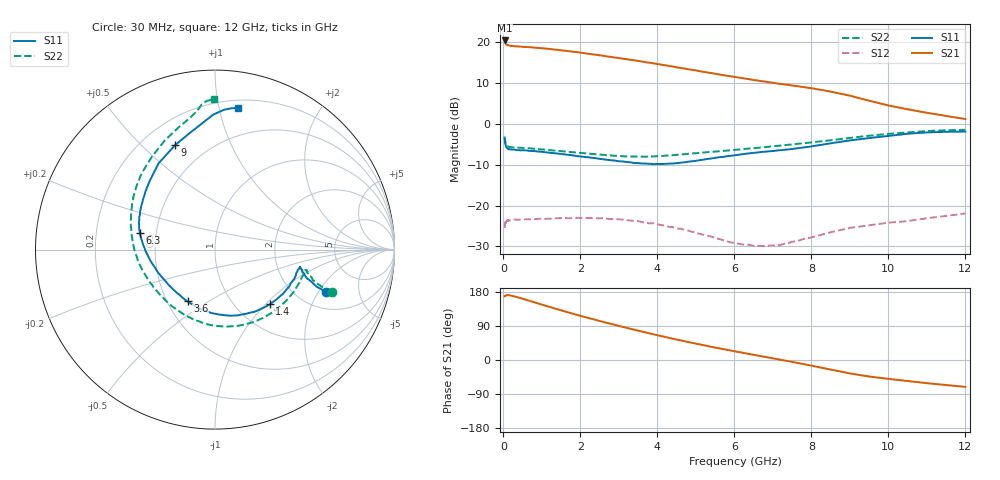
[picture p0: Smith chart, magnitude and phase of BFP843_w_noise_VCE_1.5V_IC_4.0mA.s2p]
! Infineon Technologies  Discrete & RF Semiconductors
! BFP843
! VCE =  1.5 V,  IC =  4.0 mA
! Common Emitter S-Parameters:  Aug 2013
# GHz  S  MA  R  50
!  f  S11  S21  S12  S22
! GHz  MAG  ANG  MAG  ANG  MAG  ANG  MAG  ANG
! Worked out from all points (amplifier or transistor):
!   103 points, 30 MHz to 12 GHz, reference 50 ohm
!   highest |S21| = 20.3 dB at 30 MHz (marker M1)
!   |S21| within 3 dB of that: start of sweep to 2.019 GHz
!   unconditionally stable (mu >= 1): 160.3 MHz to 868.3 MHz; 2.411 GHz to 11.01 GHz
!   at 400 MHz: K = 1.01, MAG = 20.5 dB, |S12| = -23.5 dB
!   at 3.7 GHz: K = 1.19, MAG = 16.9 dB, |S12| = -24.2 dB
!   at 12 GHz: K = 0.84, MSG = 11.5 dB, |S12| = -21.9 dB
!   lowest NFmin = 0.97 dB at 450 MHz
!   S11 on the Smith chart (normalised r, x): 30 MHz: 2.80, -2.33; 1.4 GHz: 1.41, -1.06; 3.6 GHz: 0.63, -0.41; 6.3 GHz: 0.40, +0.09; 9 GHz: 0.33, +0.63; 12 GHz: 0.26, +1.14
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0.03  0.6607 -20.8  10.34 167.9  0.0532 35.1  0.6949 -19.9
0.04  0.6013 -20.0  9.882 168.3  0.0591 27.8  0.637 -19.3
0.05  0.5681 -18.5  9.599 170.2  0.0622 22.8  0.5974 -18.3
0.07  0.5193 -15.9  9.266 170.8  0.0641 16.1  0.5565 -15.7
0.1  0.5005 -13.2  9.038 171.2  0.0661 10.5  0.5286 -13.9
0.13  0.4901 -12.3  9.057 171.4  0.0664 9.6  0.5227 -12.9
0.7  0.4625 -23.6  8.552 155.4  0.0676 -1.2  0.4983 -28.3
1.1  0.4458 -35.6  8.236 143.0  0.0687 -3.7  0.4793 -43.4
1.4  0.4314 -45.0  7.948 134.0  0.0699 -6.2  0.4653 -54.6
1.7  0.4146 -54.5  7.653 125.1  0.07 -8.6  0.4514 -65.9
2.1  0.3912 -67.6  7.242 113.7  0.0705 -11.8  0.4343 -80.8
2.8  0.357 -90.3  6.496 95.2  0.0682 -19.3  0.4085 -106.0
3.6  0.3258 -118.0  5.721 75.0  0.0628 -27.6  0.3951 -134.4
4.1  0.3213 -135.4  5.235 63.1  0.0577 -31.9  0.4021 -150.5
5  0.3512 -164.6  4.453 43.1  0.0465 -35.7  0.4352 -172.9
6.1  0.4162 171.4  3.648 21.2  0.0343 -27.4  0.4813 166.0
6.3  0.4285 167.6  3.532 17.4  0.0332 -24.0  0.492 162.6
7.3  0.479 148.7  3.003 -1.3  0.0343 -4.1  0.5448 145.9
8.5  0.5743 123.2  2.456 -25.3  0.0472 5.6  0.6252 124.3
9  0.6227 111.0  2.19 -35.4  0.0533 3.7  0.6689 114.8
10.5  0.7519 90.8  1.496 -55.4  0.0645 -2.1  0.7797 97.3
12  0.7989 80.9  1.137 -70.9  0.08 -9.7  0.8396 90.3
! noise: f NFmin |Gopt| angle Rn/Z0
0.45  0.97  0.21  8  0.02
0.9  0.99  0.23  18  0.03
1.5  1.02  0.22  29  0.11
1.9  1.06  0.2  40  0.19
2.4  1.1  0.18  50  0.28
3.5  1.2  0.15  67  0.34
5.5  1.38  0.14  -172  0.4
10  2.27  0.52  -77  0.46
